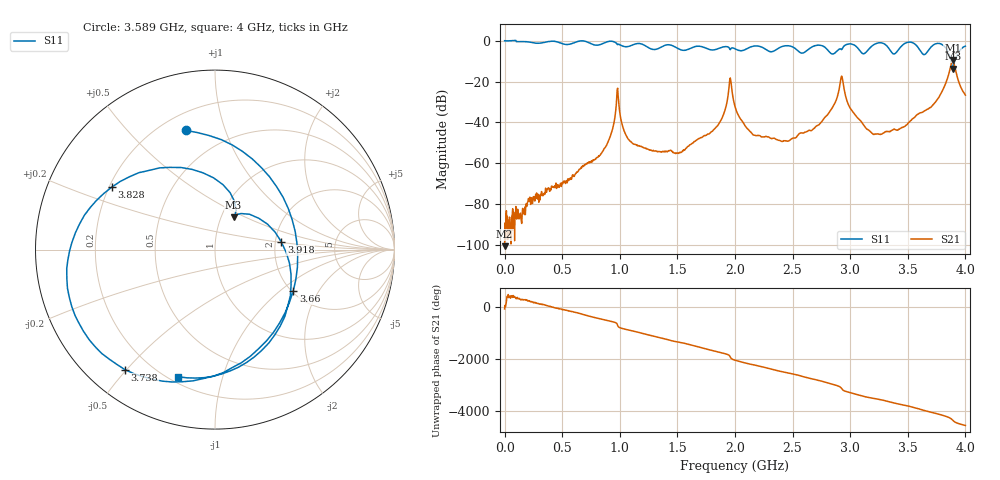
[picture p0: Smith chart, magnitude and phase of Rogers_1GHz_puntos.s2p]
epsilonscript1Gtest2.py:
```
import skrf as rf
import matplotlib.pyplot as plt
import numpy as np
from scipy.signal import find_peaks

# --- PARÁMETROS FÍSICOS DEL RESONADOR A 1GHZ PARA ROGERS4350B ---
R_rogers = 28.69e-3             # Radio para 1GHZ
L_rogers = 2 * np.pi * R_rogers # longitud del anillo
c = 3e8                         # Velocidad de la luz en vacio en m/s
H_rogers = 1.524e-3             # Altura del sustrato
w_rogers = 3.3e-3               # Ancho de las pistas en metros (ejemplo 3 mm)

# --- PARÁMETROS FÍSICOS DEL RESONADOR A 1GHZ PARA FR4 ---
R_fr4 = 26.58e-3                # Radio para 1GHZ
L_fr4 = 2 * np.pi * R_fr4       # longitud del anillo
# c = 3e8 (ya definido)
H_fr4 = 1.56e-3                 # Altura del sustrato
w_fr4 = 2.6e-3                  # Ancho de las pistas en metros (ejemplo 3 mm)

# Modos de resonancia --> hasta 3GHZ (usando los primeros 3 modos n=1, 2, 3)
n_modos = [1, 2, 3]

# Array para los epsilon_eff y epsilon_r
epsilon_eff_rogers = np.zeros(3)
epsilon_r_rogers = np.zeros(3)

epsilon_eff_fr4 = np.zeros(3)
epsilon_r_fr4 = np.zeros(3)

# Variables para ajuste de busqueda de picos
distance_val = 100
prominence_val = 10

# --- CARGAR ARCHIVOS S2P ---
try:
    ntwk_rogers = rf.Network('Rogers_1GHz_puntos.s2p')
except FileNotFoundError:
    print("ERROR: No se encontró 'Rogers_1GHz_puntos.s2p'.")
    exit()

try:
    ntwk_fr4 = rf.Network('FR4_1GHz_puntos.s2p')
except FileNotFoundError:
    print("ERROR: No se encontró 'FR4_1GHz_puntos.s2p'.")
    exit()

print("Archivos cargados exitosamente.")

# --- Graficar ---
fig, ax = plt.subplots(1, 2, figsize=(14, 6))
ntwk_rogers.s21.plot_s_db(ax=ax[0], label='$|S_{21}|$ (S21 Rogers 1GHZ)')
ax[0].set_title('ROGERS 4350B $|S_{21}|$')
ax[0].set_xlabel('Frecuencia (Hz)')
ax[0].set_ylabel('Magnitud (dB)')
ax[0].grid(True, which="both", ls="--", alpha=0.6)
ax[0].legend()

ntwk_fr4.s21.plot_s_db(ax=ax[1],label='$|S_{21}|$ (S21 FR4 1GHZ)')
ax[1].set_title('FR4 $|S_{21}|$')
ax[1].set_xlabel('Frecuencia (Hz)')
ax[1].set_ylabel('Magnitud (dB)')
ax[1].grid(True, which="both", ls="--", alpha=0.6)
ax[1].legend()

# Mostrar el gráfico
plt.suptitle('Comparación de Parámetros $|S_{21}|$ (Transmisión)') # Título general de la figura
plt.tight_layout(rect=[0, 0, 1, 0.96]) # Ajusta el espacio para el título principal
plt.show()

# --- PROCESAMIENTO ROGERS 4350B ---

frecuencias_rogers = ntwk_rogers.f  # En Hz
frecuencias_rogers_GHz = frecuencias_rogers / 1e9
s21_rogers = ntwk_rogers.s[:, 1, 0]
s21_dB_rogers = 20 * np.log10(np.abs(s21_rogers))

# Filtrar hasta 3.5 GHz
mask = frecuencias_rogers_GHz <= 3.5
frecuencias_filtradas_rogers = frecuencias_rogers_GHz[mask]
s21_dB_filtrado_rogers = s21_dB_rogers[mask]

# Detectar picos
picos_resonancia_rogers, _ = find_peaks(s21_dB_filtrado_rogers, distance=distance_val, prominence=prominence_val)
picos_a_usar_rogers = picos_resonancia_rogers[:len(n_modos)]
frecuencias_resonancia_rogers = frecuencias_filtradas_rogers[picos_a_usar_rogers]
frecuencias_resonancia_Hz_rogers = frecuencias_resonancia_rogers * 1e9

# Calcular epsilon efectivo y relativo
for i in range(3):
	epsilon_eff_rogers[i] = (n_modos[i] * c / (2 * np.pi * R_rogers * frecuencias_resonancia_Hz_rogers[i])) ** 2

for i in range(3):
	epsilon_r_rogers[i] = (2 * epsilon_eff_rogers[i] - (1 - (1 / np.sqrt(1 + 12 * H_rogers / w_rogers)))) / (1 + (1 / np.sqrt(1 + 12 * H_rogers / w_rogers)))

epsilon_r_promedio_rogers = np.mean(epsilon_r_rogers)

print("\n--- Resultados ROGERS 4350B ---")
print(f"Frecuencias de Resonancia (GHz): {frecuencias_resonancia_rogers}")
print(f"Valores de Epsilon efectivo (εeff): {epsilon_eff_rogers}")
print(f"Valores de Epsilon Relativo (εr): {epsilon_r_rogers}")
print(f"Epsilon Relativo Promedio (εr promedio): {epsilon_r_promedio_rogers:.3f}")

# --- PROCESAMIENTO FR4 ---

frecuencias_fr4 = ntwk_fr4.f  # En Hz
frecuencias_fr4_GHz = frecuencias_fr4 / 1e9
s21_fr4 = ntwk_fr4.s[:, 1, 0]
s21_dB_fr4 = 20 * np.log10(np.abs(s21_fr4))

# Filtrar hasta 3.5 GHz
mask = frecuencias_fr4_GHz <= 3.5
frecuencias_filtradas_fr4 = frecuencias_fr4_GHz[mask]
s21_dB_filtrado_fr4 = s21_dB_fr4[mask]

# Detectar picos
picos_resonancia_fr4, _ = find_peaks(s21_dB_filtrado_fr4, distance=distance_val, prominence=prominence_val)
picos_a_usar_fr4 = picos_resonancia_fr4[:len(n_modos)]
frecuencias_resonancia_fr4 = frecuencias_filtradas_fr4[picos_a_usar_fr4]
frecuencias_resonancia_Hz_fr4 = frecuencias_resonancia_fr4 * 1e9

# Calcular epsilon efectivo y relativo
for i in range(3):
	epsilon_eff_fr4[i] = (n_modos[i] * c / (2 * np.pi * R_fr4 * frecuencias_resonancia_Hz_fr4[i])) ** 2

for i in range(3):
	epsilon_r_fr4[i] = (2 * epsilon_eff_fr4[i] - (1 - (1 / np.sqrt(1 + 12 * H_fr4 / w_fr4)))) / (1 + (1 / np.sqrt(1 + 12 * H_fr4 / w_fr4)))

epsilon_r_promedio_fr4 = np.mean(epsilon_r_fr4)

print("\n--- Resultados FR4 ---")
print(f"Frecuencias de Resonancia (GHz): {frecuencias_resonancia_fr4}")
print(f"Valores de Epsilon efectivo (εeff): {epsilon_eff_fr4}")
print(f"Valores de Epsilon Relativo (εr): {epsilon_r_fr4}")
print(f"Epsilon Relativo Promedio (εr promedio): {epsilon_r_promedio_fr4:.3f}")

# --- GRÁFICO DE DEBUG (S21 con Picos Detectados) ---

fig, axs = plt.subplots(1, 2, figsize=(14, 6))
plt.suptitle(f'Depuración de Detección de Picos (Distancia={distance_val}, Prominencia={prominence_val})', fontsize=16)

# --- Subplot 1: ROGERS Debug ---
axs[0].plot(frecuencias_filtradas_rogers, s21_dB_filtrado_rogers, label='$|S_{21}|$ ROGERS')
picos_y_rogers = s21_dB_filtrado_rogers[picos_a_usar_rogers]
axs[0].plot(frecuencias_resonancia_rogers, picos_y_rogers, "x", color='red', markersize=10, label='Picos Detectados')
axs[0].set_title('ROGERS 4350B')
axs[0].set_xlabel('Frecuencia (GHz)')
axs[0].set_ylabel('Magnitud ($|S_{21}|$ en dB)')
axs[0].grid(True, which="both", ls="--", alpha=0.6)
axs[0].legend()

# --- Subplot 2: FR4 Debug ---
axs[1].plot(frecuencias_filtradas_fr4, s21_dB_filtrado_fr4, label='$|S_{21}|$ FR4', color='C1')
picos_y_fr4 = s21_dB_filtrado_fr4[picos_a_usar_fr4]
axs[1].plot(frecuencias_resonancia_fr4, picos_y_fr4, "x", color='red', markersize=10, label='Picos Detectados')
axs[1].set_title('FR4')
axs[1].set_xlabel('Frecuencia (GHz)')
axs[1].set_ylabel('Magnitud ($|S_{21}|$ en dB)')
axs[1].grid(True, which="both", ls="--", alpha=0.6)
axs[1].legend()

plt.tight_layout(rect=[0, 0, 1, 0.96])
plt.show()

# --- GRÁFICO COMPARATIVO ---
plt.figure(figsize=(10, 6))

# Curva ROGERS 4350B
plt.plot(frecuencias_resonancia_rogers, epsilon_r_rogers, 'o', color='r', markersize=10, label='εr ROGERS')
plt.axhline(y=epsilon_r_promedio_rogers, color='r', linestyle='--', label=f'Promedio εr ROGERS = {epsilon_r_promedio_rogers:.3f}')

# Etiquetas en cada punto ROGERS
for f, eps in zip(frecuencias_resonancia_rogers, epsilon_r_rogers):
    plt.text(f, eps - 0.20, f"{eps:.3f}\n{f:.3f} GHz", color='r', ha='center', va='bottom', fontsize=12)

# Curva FR4
plt.plot(frecuencias_resonancia_fr4, epsilon_r_fr4, 'o', color='b',markersize=10, label='εr FR4')
plt.axhline(y=epsilon_r_promedio_fr4, color='b', linestyle='--', label=f'Promedio εr FR4 = {epsilon_r_promedio_fr4:.3f}')

for f, eps in zip(frecuencias_resonancia_fr4, epsilon_r_fr4):
    plt.text(f, eps - 0.05, f"{eps:.3f}\n{f:.3f} GHz", color='b', ha='center', va='top', fontsize=12)

# Etiquetas y formato
plt.xlabel('Frecuencias de resonancia (GHz)')
plt.ylabel('εr(f)')
plt.title('Cálculo de Permitividad Relativa (εr): ROGERS 4350B vs FR4')
plt.grid(True, which='both', linestyle='--', alpha=0.6)
plt.ylim(3, 5) # Rango visual ajustado
plt.legend(title='Materiales')
plt.tight_layout()
plt.show()
```
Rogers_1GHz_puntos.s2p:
! NanoVNA-App
! Date: 2025-10-01 19:53:59
! Start: 10kHz Stop: 4GHz Points: 1024
! S-Parameter data: F S11 S21 S12 S22
# Hz S RI R 50
!  Frequency  S11_Real  S11_Imag  S21_Real  S21_Imag  S12_Real  S12_Imag  S22_Real  S22_Imag
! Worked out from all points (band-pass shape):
!   1024 points, 10 kHz to 4 GHz, reference 50 ohm
!   highest |S21| = -9.47 dB at 3.891 GHz (marker M1); lowest = -100.7 dB at 10 kHz (marker M2)
!   |S21| within 3 dB of the highest: 3.872 GHz to 3.907 GHz (34.33 MHz wide, 0.883 % of centre)
!   lowest |S11| = -13.6 dB at 3.891 GHz (marker M3), VSWR 1.53, Z = 57.2 + j21.6 ohm
!   |S11| at or under -10 dB: 3.876 GHz to 3.909 GHz (32.72 MHz wide, 0.841 % of centre)
!   S12 and S22 are empty: the file has one direction only
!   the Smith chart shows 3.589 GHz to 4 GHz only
!   S11 on the Smith chart (normalised r, x): 3.589 GHz: 0.30, +0.74; 3.66 GHz: 2.03, -1.24; 3.738 GHz: 0.11, -0.50; 3.828 GHz: 0.21, +0.27; 3.918 GHz: 2.16, +0.22; 4 GHz: 0.23, -0.73
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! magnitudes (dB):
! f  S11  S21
! 10 kHz  0.0  -100.7
! 981.4 MHz  -1.9  -23.3
! 1.494 GHz  -3.4  -55.1
! 2.002 GHz  -4.0  -32.6
! 3.589 GHz  -3.3  -35.9
! 3.66 GHz  -6.1  -33.9
! 3.738 GHz  -1.6  -30.2
! 3.828 GHz  -3.4  -21.0
! 3.891 GHz  -13.6  -9.5
! 3.918 GHz  -8.6  -15.2
! 4 GHz  -2.6  -26.6
